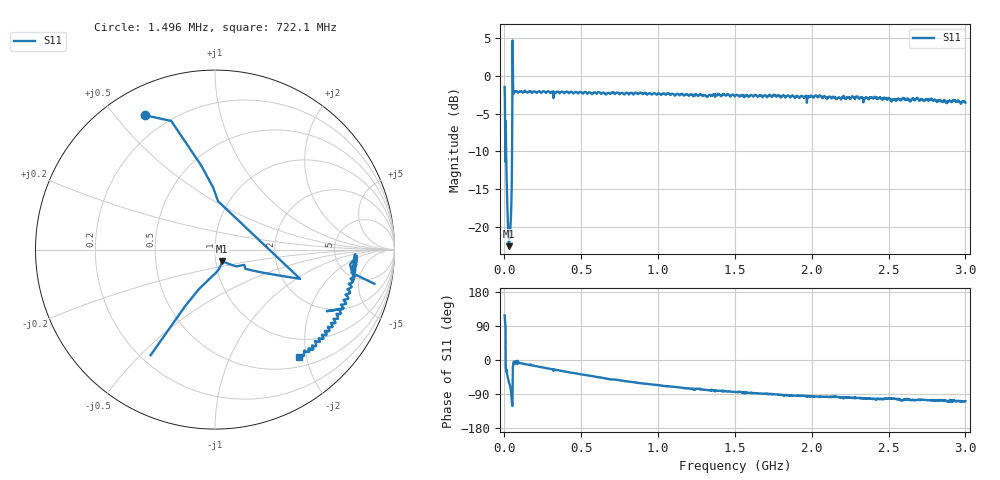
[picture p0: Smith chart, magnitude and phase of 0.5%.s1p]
# HZ S RI R 50
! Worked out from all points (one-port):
!   2019 points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, 1.496 MHz to 3 GHz, reference 50 ohm
!   lowest |S11| = -22.6 dB at 29.73 MHz (marker M1), VSWR 1.16, Z = 53.5 - j6.89 ohm
!   |S11| at or under -10 dB: 6.486 MHz to 7.818 MHz (1.332 MHz wide, 18.6 % of centre); 11.43 MHz to 50.09 MHz (38.66 MHz wide, 126 % of centre)
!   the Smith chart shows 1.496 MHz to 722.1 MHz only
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1495879  -0.3903 0.7483
8925274  0.4746 -0.1633
1.932643e7  0.1012 -0.0881
2.378406e7  0.0649 -0.0754
2.972758e7  0.0382 -0.064
3.56711e7  0.0353 -0.0798
3.715698e7  0.0331 -0.0857
3.864285e7  0.0309 -0.0921
4.310049e7  0.0139 -0.1183
5.64734e7  0.8879 -0.1905
6.241692e7  0.7734 -0.0646
6.687456e7  0.7799 -0.0781
6.836043e7  0.7715 -0.1419
6.984631e7  0.7852 -0.0609
7.430395e7  0.7869 -0.0856
3.774233e8  0.6837 -0.3845
6.032769e8  0.5423 -0.5439
7.518648e8  0.4485 -0.6103
8.945092e8  0.363 -0.6726
1.126306e9  0.2339 -0.7208
1.500748e9  0.0718 -0.7286
1.876675e9  -0.0493 -0.7336
2.251117e9  -0.1185 -0.6939
2.40862e9  -0.1597 -0.7085
2.521547e9  -0.1389 -0.6714
2.585439e9  -0.1921 -0.6733
2.625558e9  -0.1814 -0.674
3e9  -0.2119 -0.6295
